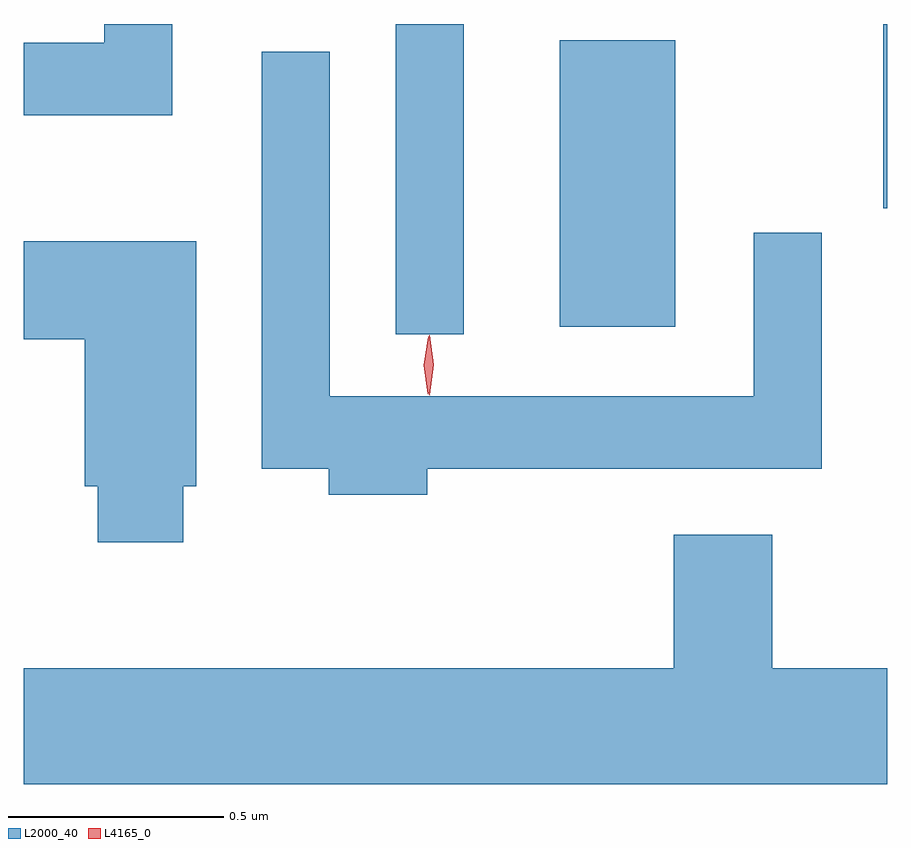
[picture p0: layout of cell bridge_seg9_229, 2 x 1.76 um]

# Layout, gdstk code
import gdstk
lib = gdstk.Library(unit=1e-6, precision=1e-09)
def R(c, l, rs):  # rectangles x0, y0, x1, y1
    for r in rs: c.add(gdstk.rectangle(r[:2], r[2:], *l))
def P(c, l, *ps):  # polygons
    for p in ps: c.add(gdstk.Polygon(p, *l))
L2000_40 = (2000, 40)
L4165_0 = (4165, 0)

bridge_seg9_229 = lib.new_cell('bridge_seg9_229')
R(bridge_seg9_229, L2000_40, [(1490.636,1948.458,1490.794,1949.177), (1491.016,1948.476,1491.284,1949.139), (1491.766,1948.75,1491.775,1949.177)])
P(bridge_seg9_229, L2000_40, [(1490.119,1949.177),(1489.961,1949.177),(1489.961,1949.134),(1489.775,1949.134),(1489.775,1948.966),(1490.119,1948.966)],
  [(1490.709,1948.146),(1491.624,1948.146),(1491.624,1948.693),(1491.466,1948.693),(1491.466,1948.314),(1490.484,1948.314),(1490.484,1949.113),(1490.326,1949.113),(1490.326,1948.146),(1490.481,1948.146),(1490.481,1948.086),(1490.709,1948.086)],
  [(1490.144,1948.106),(1490.174,1948.106),(1490.174,1948.674),(1489.775,1948.674),(1489.775,1948.446),(1489.916,1948.446),(1489.916,1948.106),(1489.946,1948.106),(1489.946,1947.976),(1490.144,1947.976)],
  [(1491.775,1947.684),(1491.509,1947.684),(1491.509,1947.994),(1491.281,1947.994),(1491.281,1947.684),(1489.775,1947.684),(1489.775,1947.416),(1491.775,1947.416)])
P(bridge_seg9_229, L4165_0, [(1490.712,1948.319),(1490.711,1948.32),(1490.702,1948.386),(1490.712,1948.452),(1490.712,1948.453),(1490.712,1948.452),(1490.722,1948.386),(1490.712,1948.32)],
  [(1490.715,1948.317),(1490.714,1948.318),(1490.705,1948.387),(1490.714,1948.456),(1490.715,1948.456),(1490.715,1948.456),(1490.725,1948.387),(1490.715,1948.318)])

lib.write_gds('bridge_seg9_229.gds')
